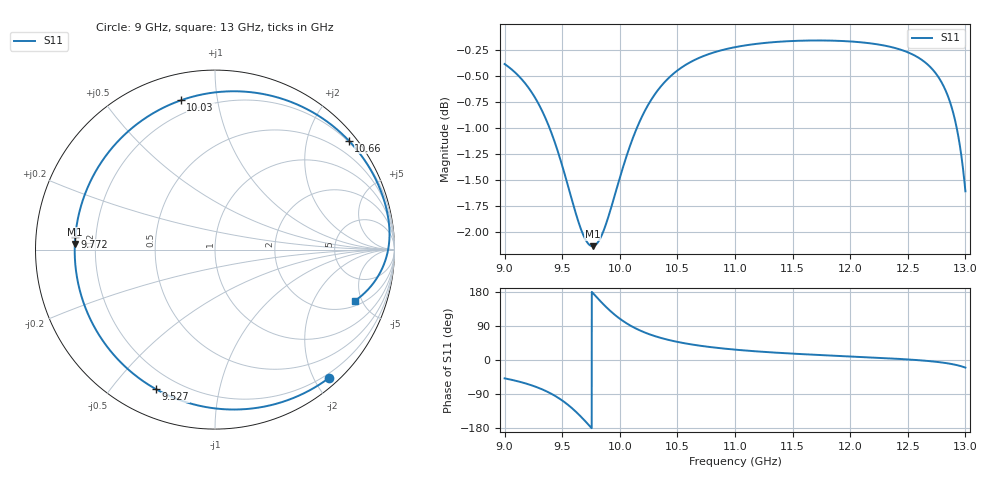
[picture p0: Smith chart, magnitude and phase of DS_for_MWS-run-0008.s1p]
! TOUCHSTONE file generated by CST DESIGN STUDIO
! Date and time: Tue Feb  4 18:25:20 2025
! Project name: C:\Work\MatlabApps\UnitCellOptimizationMatlab\CST\unitcell.cst
! Tree item: Tasks\Sweep1\SPara1\S-Parameters
! Header version: 2024
! Port assignment regex: !\s*Touchstone port\s*([0-9]+)\s*=\s*(CST MWS port|CST DES external port|CST DES block port)\s*(.+)\s* \(\"(.*)\"\)(\s*mode\s*([0-9]+))?.*
! Touchstone port assignment:
! Touchstone port 1 = CST DES external port 1 ("")
# GHz S MA R 50
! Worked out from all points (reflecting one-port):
!   4001 points, 9 GHz to 13 GHz, reference 50 ohm
!   lowest |S11| = -2.1 dB at 9.763 GHz (marker M1), VSWR 8.16, Z = 6.13 + j0.987 ohm
!   phase of S11 starts at -48 deg and turns -332 deg over the sweep
!   S11 on the Smith chart (normalised r, x): 9 GHz: 0.13, -2.22; 9.527 GHz: 0.12, -0.66; 9.772 GHz: 0.12, +0.05; 10.03 GHz: 0.13, +0.79; 10.66 GHz: 0.17, +2.80; 13 GHz: 2.39, -4.40
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9  0.9564 -48.4
9.138  0.9417 -58.0
9.266  0.921 -70.2
9.398  0.8887 -87.9
9.5  0.8546 -106.8
9.527  0.8445 -112.8
9.595  0.8188 -129.9
9.664  0.7962 -150.0
9.715  0.7853 -166.3
9.763  0.7817 177.7
9.772  0.7818 174.7
9.828  0.788 156.3
9.892  0.8047 136.7
9.945  0.8229 122.2
10  0.8431 108.9
10.028  0.8531 102.9
10.123  0.8839 85.6
10.247  0.9142 69.0
10.365  0.9341 57.5
10.5  0.9495 47.8
10.662  0.9614 39.2
11  0.9744 27.4
11.5  0.981 16.8
12  0.9806 9.3
12.5  0.9688 1.5
12.825  0.9296 -7.8
12.918  0.8946 -12.9
13  0.8306 -20.1
